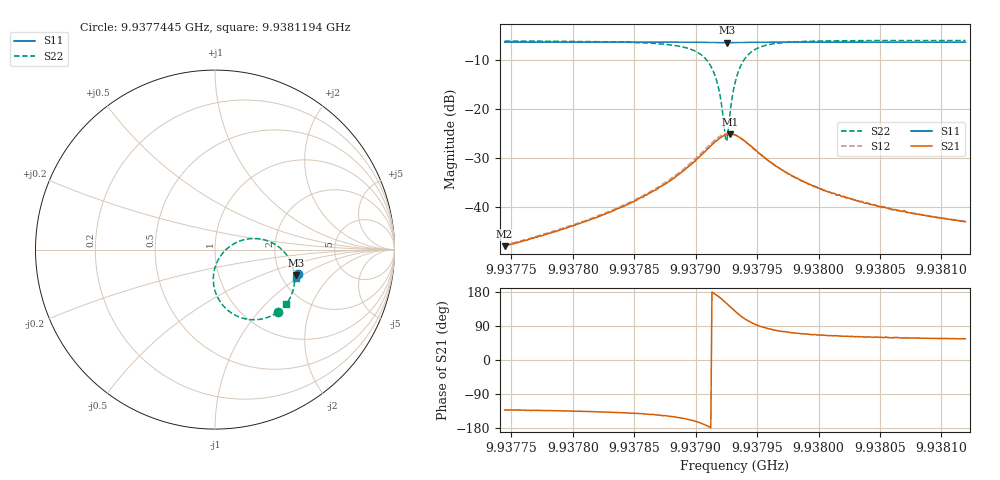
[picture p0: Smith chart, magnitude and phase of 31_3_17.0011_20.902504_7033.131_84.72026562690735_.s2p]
#  HZ  S  RI  R  50.00
! Rohde & Schwarz Vector Network Analyzer
! Rohde-Schwarz,ZNB20-2Port,1311601062101988,3.16
! Created: UTC 3/20/2024, 10:53:24 PM
! freq[Hz]  re:S11  im:S11  re:S21  im:S21  re:S12  im:S12  re:S22  im:S22
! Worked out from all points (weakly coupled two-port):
!   401 points, 9.9377445 GHz to 9.9381194 GHz, reference 50 ohm
!   highest |S21| = -25.15 dB at 9.9379282 GHz (marker M1); lowest = -48.0 dB at 9.9377445 GHz (marker M2)
!   lowest |S11| = -6.5 dB at 9.9379254 GHz (marker M3), VSWR 2.80, Z = 121 - j44.9 ohm
!   |S11| at or under -10 dB: nowhere
!   |S22| runs from -26.5 to -6.0 dB; largest |S21 - S12| = 0.0046
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9.93774454e9  0.462 -0.135  -0.00266 -0.00296  -0.00277 -0.00301  0.3488 -0.3484
9.93780734e9  0.4603 -0.1396  -0.00493 -0.00485  -0.00514 -0.00487  0.3249 -0.3638
9.93784389e9  0.459 -0.1423  -0.00802 -0.0068  -0.00837 -0.00686  0.2948 -0.3771
9.93787013e9  0.4578 -0.1444  -0.0131 -0.00897  -0.0135 -0.00881  0.2501 -0.3883
9.93789544e9  0.4559 -0.1463  -0.0247 -0.00996  -0.0262 -0.00972  0.1488 -0.3806
9.9379095e9  0.4539 -0.1469  -0.0385 -0.00394  -0.0407 -0.00254  0.0403 -0.3062
9.93791324e9  0.453 -0.1467  -0.0432 0.000601  -0.0452 0.00275  0.0112 -0.2589
9.93791699e9  0.4523 -0.1462  -0.047 0.00714  -0.0487 0.0104  -0.00759 -0.195
9.93791981e9  0.452 -0.1457  -0.0489 0.0136  -0.0498 0.0176  -0.00776 -0.1371
9.93792355e9  0.4517 -0.1448  -0.0485 0.0236  -0.0482 0.0278  0.018 -0.0567
9.93792543e9  0.4516 -0.1443  -0.0467 0.0286  -0.0457 0.0331  0.043 -0.0193
9.93792637e9  0.4518 -0.1441  -0.0454 0.0311  -0.0441 0.0354  0.0587 -0.00247
9.93792824e9  0.4519 -0.1435  -0.0423 0.0357  -0.0403 0.0396  0.0941 0.0256
9.93793012e9  0.4524 -0.1432  -0.0384 0.0393  -0.0359 0.0427  0.1334 0.0459
9.93793199e9  0.4528 -0.1428  -0.034 0.0422  -0.0311 0.0451  0.1742 0.0577
9.9379348e9  0.4533 -0.1426  -0.0268 0.0446  -0.0237 0.0467  0.2345 0.0611
9.93793855e9  0.4543 -0.1426  -0.0179 0.0451  -0.0149 0.0459  0.3017 0.0453
9.93794886e9  0.4562 -0.1437  -0.00225 0.038  -0.000453 0.0374  0.406 -0.0402
9.93796761e9  0.4569 -0.1464  0.00582 0.0245  0.00634 0.024  0.4433 -0.1554
9.93799479e9  0.4563 -0.1491  0.00654 0.0152  0.00678 0.0149  0.4342 -0.2286
9.93805758e9  0.4548 -0.154  0.00498 0.00814  0.00508 0.00828  0.4099 -0.2842
9.93811944e9  0.4533 -0.1583  0.00397 0.00589  0.00411 0.00586  0.3957 -0.3044
